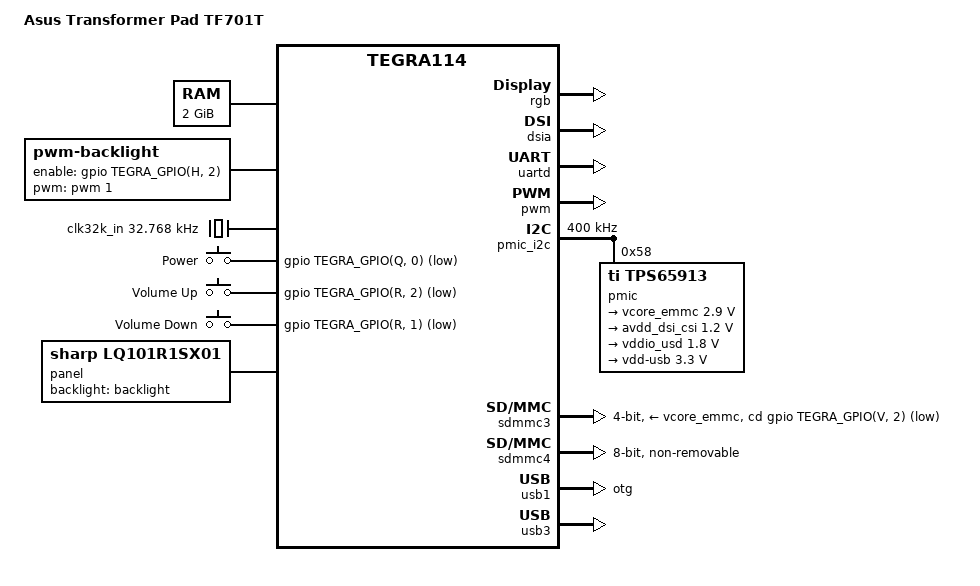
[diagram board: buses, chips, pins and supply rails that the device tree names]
// SPDX-License-Identifier: GPL-2.0-or-later
/dts-v1/;

#include <dt-bindings/input/input.h>

#include "tegra114.dtsi"

/ {
	model = "Asus Transformer Pad TF701T";
	compatible = "asus,tf701t", "nvidia,tegra114";

	chosen {
		stdout-path = &uartd;
	};

	aliases {
		i2c0 = &pmic_i2c;

		mmc0 = &sdmmc4; /* eMMC */
		mmc1 = &sdmmc3; /* uSD slot */

		usb0 = &usb1;
		usb1 = &usb3; /* Dock USB */
	};

	memory {
		device_type = "memory";
		reg = <0x80000000 0x80000000>;
	};

	host1x@50000000 {
		dc@54200000 {
			clocks = <&tegra_car TEGRA114_CLK_DISP1>,
				 <&tegra_car TEGRA114_CLK_PLL_D_OUT0>;

			rgb {
				status = "okay";

				nvidia,panel = <&dsia>;
			};
		};

		dsia: dsi@54300000 {
			clocks = <&tegra_car TEGRA114_CLK_DSIA>;
			status = "okay";

			avdd-dsi-csi-supply = <&avdd_dsi_csi>;

			panel = <&panel>;
		};
	};

	uartd: serial@70006300 {
		status = "okay";
	};

	pwm: pwm@7000a000 {
		status = "okay";
	};

	pmic_i2c: i2c@7000d000 {
		status = "okay";
		clock-frequency = <400000>;

		/* Texas Instruments TPS65913 PMIC */
		pmic: tps65913@58 {
			compatible = "ti,tps65913", "ti,palmas";
			reg = <0x58>;

			regulators {
				vcore_emmc: smps9 {
					regulator-name = "vdd-sd";
					regulator-min-microvolt = <2900000>;
					regulator-max-microvolt = <2900000>;
				};

				avdd_dsi_csi: ldo2 {
					regulator-name = "avdd_dsi_csi";
					regulator-min-microvolt = <1200000>;
					regulator-max-microvolt = <1200000>;
				};

				vddio_usd: ldo9 {
					regulator-name = "vdd-sdmmc";
					regulator-min-microvolt = <1800000>;
					regulator-max-microvolt = <1800000>;
				};

				ldousb {
					regulator-name = "vdd-usb";
					regulator-min-microvolt = <3300000>;
					regulator-max-microvolt = <3300000>;
				};
			};
		};
	};

	sdmmc3: sdhci@78000400 {
		status = "okay";
		bus-width = <4>;

		cd-gpios = <&gpio TEGRA_GPIO(V, 2) GPIO_ACTIVE_LOW>;
		power-gpios = <&gpio TEGRA_GPIO(K, 1) GPIO_ACTIVE_HIGH>;

		nvidia,default-tap = <0x3>;
		nvidia,default-trim = <0x3>;

		vmmc-supply = <&vcore_emmc>;
		vqmmc-supply = <&vddio_usd>;
	};

	sdmmc4: sdhci@78000600 {
		status = "okay";
		bus-width = <8>;
		non-removable;
	};

	/* USB via ASUS connector */
	usb1: usb@7d000000 {
		status = "okay";
		dr_mode = "otg";
	};

	/* Dock's USB port */
	usb3: usb@7d008000 {
		status = "okay";
	};

	backlight: backlight {
		compatible = "pwm-backlight";

		enable-gpios = <&gpio TEGRA_GPIO(H, 2) GPIO_ACTIVE_HIGH>;
		pwms = <&pwm 1 1000000>;

		brightness-levels = <1 35 70 105 140 175 210 255>;
		default-brightness-level = <5>;
	};

	/* PMIC has a built-in 32KHz oscillator which is used by PMC */
	clk32k_in: clock-32k {
		compatible = "fixed-clock";
		#clock-cells = <0>;
		clock-frequency = <32768>;
		clock-output-names = "pmic-oscillator";
	};

	gpio-keys {
		compatible = "gpio-keys";

		key-power {
			label = "Power";
			gpios = <&gpio TEGRA_GPIO(Q, 0) GPIO_ACTIVE_LOW>;
			linux,code = <KEY_ENTER>;
		};

		key-volume-up {
			label = "Volume Up";
			gpios = <&gpio TEGRA_GPIO(R, 2) GPIO_ACTIVE_LOW>;
			linux,code = <KEY_UP>;
		};

		key-volume-down {
			label = "Volume Down";
			gpios = <&gpio TEGRA_GPIO(R, 1) GPIO_ACTIVE_LOW>;
			linux,code = <KEY_DOWN>;
		};
	};

	panel: panel {
		compatible = "sharp,lq101r1sx01";

		backlight = <&backlight>;
	};
};
